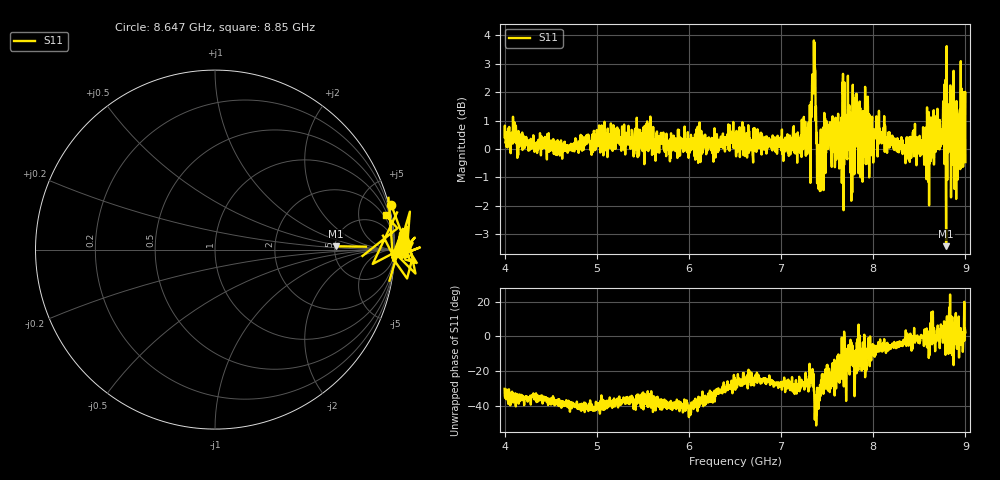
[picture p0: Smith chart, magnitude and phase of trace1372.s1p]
! Created with skrf 1.8.0 (http://scikit-rf.org).
# Hz S RI R 50.0
!freq ReS11 ImS11
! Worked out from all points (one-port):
!   1601 points, 4 GHz to 9 GHz, reference 50 ohm
!   lowest |S11| = -3.4 dB at 8.791 GHz (marker M1), VSWR 5.16, Z = 257 + j17.2 ohm
!   |S11| at or under -10 dB: nowhere
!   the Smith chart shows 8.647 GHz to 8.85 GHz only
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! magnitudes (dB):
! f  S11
! 4 GHz  0.4
! 4.625 GHz  -0.3
! 5.25 GHz  0.2
! 5.875 GHz  -0.3
! 6.5 GHz  0.3
! 7.125 GHz  0.3
! 7.294 GHz  -0.1
! 7.35 GHz  2.0
! 7.362 GHz  3.7
! 7.4 GHz  -0.1
! 7.416 GHz  -0.7
! 7.512 GHz  0.1
! 7.609 GHz  0.9
! 7.712 GHz  -0.3
! 7.75 GHz  -0.8
! 7.775 GHz  1.0
! 7.8 GHz  -0.8
! 7.859 GHz  1.4
! 7.928 GHz  1.0
! 7.981 GHz  -0.2
! 8.375 GHz  0.0
! 8.612 GHz  -0.5
! 8.759 GHz  1.7
! 8.791 GHz  -3.4
! 8.819 GHz  1.6
! 8.869 GHz  -0.4
! 8.972 GHz  0.5
! 9 GHz  -0.5
